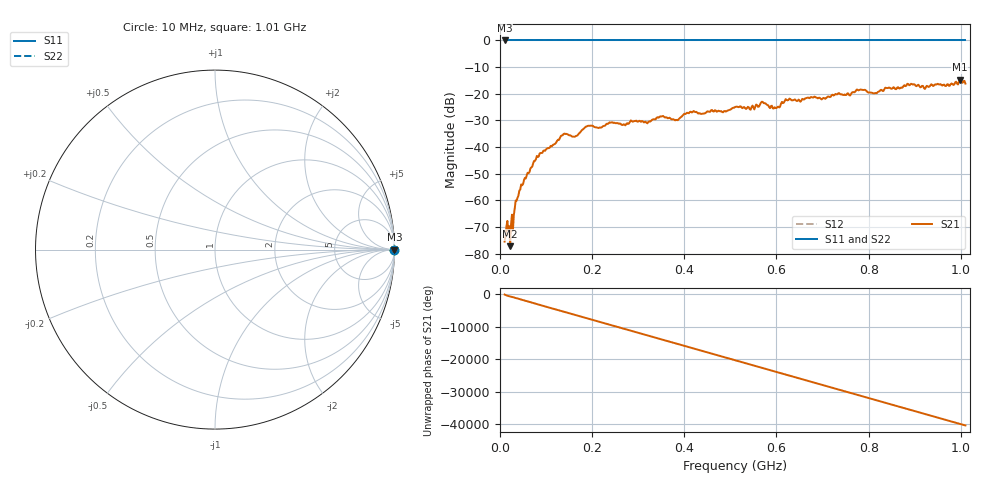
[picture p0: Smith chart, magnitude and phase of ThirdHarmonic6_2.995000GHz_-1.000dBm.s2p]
! 8/17/2025 8:32:55 AM
! C:\ANRITSUVNA\TEMP\TEMP.S2P
! CHANNEL.1
! TR.MEASUREMENT
! RAW.DATA
! RF.CORRECTION.OFF
! AVERAGING.OFF
! IF.BANDWIDTH: 5KHZ
! SWEEPTYPE:  FREQ.SWEEP(Linear)
! Reference Plane Port Info
! PORT:  PORT1  PORT2
! DISTANCE:  0  m  0  m
! TIME:  0  s  0  s
! PHASE.OFFSET:  0  deg.  0  deg.
! LOSS:  0  dB  0  dB
! REF.LOSS:  0  dB  0  dB
! REF.FREQ:  0  Hz  0  Hz
! Power Info
! POWER:  -20  dBm  -20  dBm
! EFF.POWER:  -20  dBm  -20  dBm
! SOURCE.ATTEN:  0  dB  0  dB
! TEST.ATTEN:  0  dB  0  dB
# GHZ S RI R 50.0
! FREQ.GHZ  S11RE  S11IM  S21RE  S21IM  S12RE  S12IM  S22RE  S22IM
!; PortSelection: Port_12
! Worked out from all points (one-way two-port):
!   501 points, 10 MHz to 1.01 GHz, reference 50 ohm
!   highest |S21| = -14.66 dB at 998 MHz (marker M1); lowest = -77.2 dB at 22 MHz (marker M2)
!   lowest |S11| = 0.0 dB at 10 MHz (marker M3)
!   |S11| at or under -10 dB: nowhere
!   |S22| runs from 0.0 to 0.0 dB; largest |S21 - S12| = 1.2
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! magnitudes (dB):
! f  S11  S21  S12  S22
! 10 MHz  0.0  -75.5  0.0  0.0
! 16 MHz  0.0  -67.7  0.0  0.0
! 22 MHz  0.0  -77.2  0.0  0.0
! 26 MHz  0.0  -65.4  0.0  0.0
! 34 MHz  0.0  -60.0  0.0  0.0
! 42 MHz  0.0  -56.4  0.0  0.0
! 76 MHz  0.0  -45.2  0.0  0.0
! 136 MHz  0.0  -35.6  0.0  0.0
! 164 MHz  0.0  -35.9  0.0  0.0
! 178 MHz  0.0  -33.6  0.0  0.0
! 344 MHz  0.0  -29.0  0.0  0.0
! 382 MHz  0.0  -29.8  0.0  0.0
! 416 MHz  0.0  -27.0  0.0  0.0
! 510 MHz  0.0  -25.0  0.0  0.0
! 548 MHz  0.0  -24.4  0.0  0.0
! 570 MHz  0.0  -23.0  0.0  0.0
! 596 MHz  0.0  -25.1  0.0  0.0
! 624 MHz  0.0  -22.5  0.0  0.0
! 678 MHz  0.0  -21.4  0.0  0.0
! 844 MHz  0.0  -17.7  0.0  0.0
! 998 MHz  0.0  -14.7  0.0  0.0
! 1.01 GHz  0.0  -16.2  0.0  0.0
